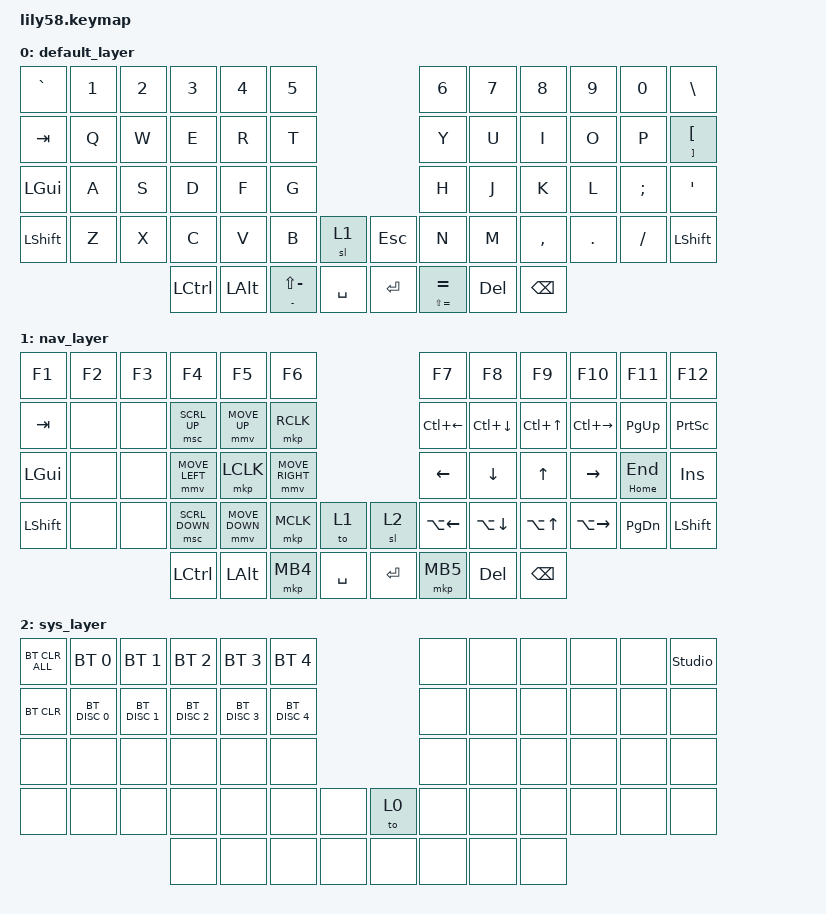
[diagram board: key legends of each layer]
/*
 * Copyright (c) 2020 The ZMK Contributors
 *
 * SPDX-License-Identifier: MIT
 */

#define ZMK_POINTING_DEFAULT_MOVE_VAL 800  // default: 600
#define ZMK_POINTING_DEFAULT_SCRL_VAL 200 // default: 10

#include <behaviors.dtsi>
#include <dt-bindings/zmk/bt.h>
#include <dt-bindings/zmk/keys.h>
#include <dt-bindings/zmk/pointing.h>

/ {
    behaviors {
        // Настройка скорости движения курсора

        mmv {
            acceleration-exponent = <1>;      // 1 — линейно, 2 — быстрее ускорение
            time-to-max-speed-ms = <500>;    // Время до макс. скорости
            delay-ms = <0>;
        };

        // Настройка плавности и скорости скролла

        msc {
            acceleration-exponent = <1>;
            time-to-max-speed-ms = <300>;
            delay-ms = <0>;
        };
    };

    keymap {
        compatible = "zmk,keymap";

        default_layer {
            // ------------------------------------------------------------------------------------------------------------
            // |  ESC  |  1  |  2  |  3   |  4   |  5   |                   |  6   |  7    |  8    |  9   |   0   |   `   |
            // |  TAB  |  Q  |  W  |  E   |  R   |  T   |                   |  Y   |  U    |  I    |  O   |   P   |   -   |
            // |  CTRL |  A  |  S  |  D   |  F   |  G   |                   |  H   |  J    |  K    |  L   |   ;   |   '   |
            // | SHIFT |  Z  |  X  |  C   |  V   |  B   |   "["  |  |  "]"  |  N   |  M    |  ,    |  .   |   /   | SHIFT |
            //                     | ALT  | GUI  | LOWER|  SPACE |  | ENTER | RAISE| BSPC  | GUI   |

            bindings = <
&kp GRAVE     &kp N1  &kp N2  &kp N3            &kp N4    &kp N5                                        &kp N6               &kp N7      &kp N8         &kp N9   &kp N0    &kp BACKSLASH
&kp TAB       &kp Q   &kp W   &kp E             &kp R     &kp T                                         &kp Y                &kp U       &kp I          &kp O    &kp P     &mt RIGHT_BRACKET LEFT_BRACKET
&kp LEFT_GUI  &kp A   &kp S   &kp D             &kp F     &kp G                                         &kp H                &kp J       &kp K          &kp L    &kp SEMI  &kp SQT
&kp LSHFT     &kp Z   &kp X   &kp C             &kp V     &kp B                &sl 1        &kp ESCAPE  &kp N                &kp M       &kp COMMA      &kp DOT  &kp FSLH  &kp LEFT_SHIFT
                              &kp LEFT_CONTROL  &kp LALT  &mt MINUS LS(MINUS)  &kp SPACE    &kp RET     &mt LS(EQUAL) EQUAL  &kp DELETE  &kp BACKSPACE
            >;
        };

        nav_layer {
            // --------------------------------------------------------------------------------------------------------------
            // | LPAD  | BRDn | BRUp |  MUT |  Vo- |  Vo+ |                   |      |       |       |      |       |       |
            // |  F1   |  F2  |  F3  |  F4  |  F5  |  F6  |                   |  F7  |  F8   |  F9   |  F10 |  F11  |  F12  |
            // |   `   |  !   |  @   |  #   |  $   |  %   |                   |  ^   |  &    |  *    |  (   |   )   |   ~   |
            // |       |      |      |      |      |      |        |  |       |      |  _    |  +    |  {   |   }   |  "|"  |
            //                       |      |      |      |        |  |       |      |       |       |

            bindings = <
&kp F1          &kp F2  &kp F3  &kp F4          &kp F5          &kp F6                                 &kp F7          &kp F8              &kp F9            &kp F10              &kp F11        &kp F12
&kp TAB         &none   &none   &msc SCRL_UP    &mmv MOVE_UP    &mkp RCLK                              &kp LC(LEFT)    &kp LC(DOWN_ARROW)  &kp LC(UP_ARROW)  &kp LC(RIGHT_ARROW)  &kp PAGE_UP    &kp PRINTSCREEN
&kp LGUI        &none   &none   &mmv MOVE_LEFT  &mkp LCLK       &mmv MOVE_RIGHT                        &kp LEFT_ARROW  &kp DOWN_ARROW      &kp UP_ARROW      &kp RIGHT            &mt HOME END   &kp INSERT
&kp LEFT_SHIFT  &none   &none   &msc SCRL_DOWN  &mmv MOVE_DOWN  &mkp MCLK        &to 1        &sl 2    &kp LA(LEFT)    &kp LA(DOWN_ARROW)  &kp LA(UP_ARROW)  &kp LA(RIGHT_ARROW)  &kp PAGE_DOWN  &kp LEFT_SHIFT
                                &kp LCTRL       &kp LALT        &mkp MB4         &kp SPACE    &kp RET  &mkp MB5        &kp DELETE          &kp BACKSPACE
            >;
        };

        sys_layer {
            // ------------------------------------------------------------------------------------------------------------
            // |       |     |     |      |      |      |                   |      |       |       |      |       |       |
            // |   `   |  1  |  2  |  3   |  4   |  5   |                   |  6   |   7   |   8   |  9   |   0   |       |
            // |   F1  |  F2 |  F3 |  F4  |  F5  |  F6  |                   |      |   <-  |   v   |  ^   |  ->   |       |
            // |   F7  |  F8 |  F9 |  F10 |  F11 |  F12 |        |  |       |  +   |   -   |   =   |  [   |   ]   |   \   |
            //                     |      |      |      |        |  |       |      |       |       |

            bindings = <
&bt BT_CLR_ALL  &bt BT_SEL 0   &bt BT_SEL 1   &bt BT_SEL 2   &bt BT_SEL 3   &bt BT_SEL 4                   &none  &none  &none  &none  &none  &studio_unlock
&bt BT_CLR      &bt BT_DISC 0  &bt BT_DISC 1  &bt BT_DISC 2  &bt BT_DISC 3  &bt BT_DISC 4                  &none  &none  &none  &none  &none  &none
&none           &none          &none          &none          &none          &none                          &none  &none  &none  &none  &none  &none
&none           &none          &none          &none          &none          &none          &none    &to 0  &none  &none  &none  &none  &none  &none
                                              &none          &none          &none          &none    &none  &none  &none  &none
            >;
        };
    };
};
